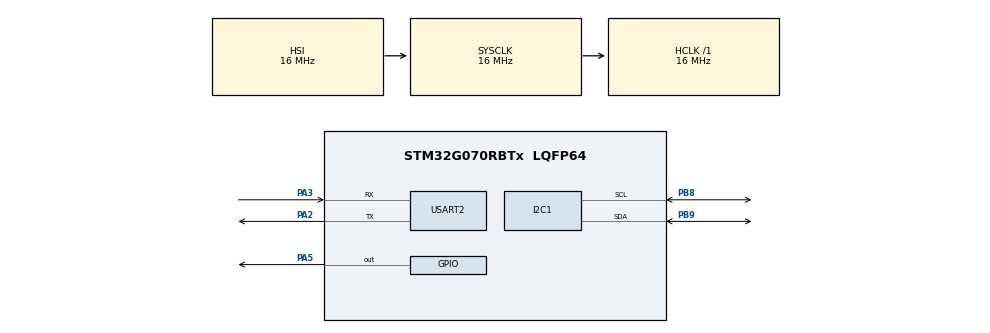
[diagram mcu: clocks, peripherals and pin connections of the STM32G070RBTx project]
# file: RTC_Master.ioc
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I2C1.Timing=0x00503D58
Mcu.Family=STM32G0
Mcu.Name=STM32G070RBTx
Mcu.Package=LQFP64
NVIC.USART2_IRQn=true\:0\:0\:false\:false\:true\:true\:true\:true
PA2.Mode=Asynchronous
PA2.Signal=USART2_TX
PA3.Mode=Asynchronous
PA3.Signal=USART2_RX
PA5.Signal=GPIO_Output
PB8.Mode=I2C
PB8.Signal=I2C1_SCL
PB9.Mode=I2C
PB9.Signal=I2C1_SDA
ProjectManager.HeapSize=0x200
ProjectManager.StackSize=0x400
ProjectManager.TargetToolchain=STM32CubeIDE
RCC.AHBFreq_Value=16000000
RCC.CortexFreq_Value=16000000
RCC.EXTERNAL_CLOCK_VALUE=12288000
RCC.HCLKFreq_Value=16000000
RCC.HSE_VALUE=8000000
RCC.HSI_VALUE=16000000
RCC.LSE_VALUE=32768
RCC.SYSCLKFreq_VALUE=16000000
RCC.VCOOutputFreq_Value=128000000
USART2.VirtualMode-Asynchronous=VM_ASYNC
board=NUCLEO-G070RB

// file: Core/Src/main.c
/* USER CODE BEGIN Header */
/**
  ******************************************************************************
  * @file           : main.c
  * @brief          : Main program body
  ******************************************************************************
  * @attention
  *
  * Copyright (c) 2025 STMicroelectronics.
  * All rights reserved.
  *
  * This software is licensed under terms that can be found in the LICENSE file
  * in the root directory of this software component.
  * If no LICENSE file comes with this software, it is provided AS-IS.
  *
  ******************************************************************************
  */
/* USER CODE END Header */
#include "main.h"

/* USER CODE BEGIN Includes */
#include <stdio.h>
#define RTC_ADDR   0x68
uint8_t time_buffer[7];
uint8_t second = 0;
uint8_t tx_buff[27] = "Started To execute\n\r";
char uart_buf[20];
int uart_buf_len;

/* USER CODE END Includes */

I2C_HandleTypeDef hi2c1;

UART_HandleTypeDef huart2;

void SystemClock_Config(void);
static void MX_GPIO_Init(void);
static void MX_I2C1_Init(void);
static void MX_USART2_UART_Init(void);

/* USER CODE BEGIN 0 */
// Convert Decimal → BCD
uint8_t dec2bcd(uint8_t val) {
    return ((val / 10) << 4) | (val % 10);
}

// Convert BCD → Decimal
uint8_t bcd2dec(uint8_t val) {
    return ((val >> 4) * 10) + (val & 0x0F);
}

void RTC_SetDateTime(uint16_t year, uint8_t month, uint8_t date,
                     uint8_t hour, uint8_t minute, uint8_t second)
{
    uint8_t set_time[7];

    set_time[0] = dec2bcd(second & 0x7F);   // 0x03 Seconds (bit7 = OS flag, must keep 0)
    set_time[1] = dec2bcd(minute);          // 0x04 Minutes
    set_time[2] = dec2bcd(hour);            // 0x05 Hours
    set_time[3] = dec2bcd(date);            // 0x06 Day
    set_time[4] = dec2bcd(1);               // 0x07 Weekday (dummy or real)
    set_time[5] = dec2bcd(month);           // 0x08 Month
    set_time[6] = dec2bcd(year % 100);      // 0x09 Year (00–99)

    HAL_I2C_Mem_Write(&hi2c1, RTC_ADDR << 1, 0x03, 1, set_time, 7, HAL_MAX_DELAY);
}

void RTC_ReadDateTime(void)
{
    char uart_buf[50];
    int uart_buf_len;

    HAL_I2C_Mem_Read(&hi2c1, RTC_ADDR << 1, 0x03, 1, time_buffer, 7, HAL_MAX_DELAY);

    uint8_t second = bcd2dec(time_buffer[0] & 0x7F);  // mask OS bit
    uint8_t minute = bcd2dec(time_buffer[1]);
    uint8_t hour   = bcd2dec(time_buffer[2] & 0x3F);
    uint8_t date   = bcd2dec(time_buffer[3]);
    uint8_t wday   = bcd2dec(time_buffer[4]);
    uint8_t month  = bcd2dec(time_buffer[5] & 0x1F);
    uint8_t yr = bcd2dec(time_buffer[6]);
    uint16_t year;

    // Decide century (simple rule: 70–99 → 1900s, else → 2000s)
    if (yr >= 70) {
        year = 1900 + yr;
    } else {
        year = 2000 + yr;
    }

		uart_buf_len = sprintf(uart_buf,
							   "%02d:%02d:%04d %02d:%02d:%02d\r\n",
							   date, month, year, hour, minute, second);

    HAL_UART_Transmit(&huart2, (uint8_t *)uart_buf, uart_buf_len, HAL_MAX_DELAY);
}

uint8_t rtc_check_os_flag(void)
{
    uint8_t sec;

    // Read Seconds register (0x03)
    if (HAL_I2C_Mem_Read(&hi2c1, RTC_ADDR << 1, 0x03, I2C_MEMADD_SIZE_8BIT,
                         &sec, 1, HAL_MAX_DELAY) != HAL_OK)
    {
        const char *msg = "I2C Read Error\r\n";
        HAL_UART_Transmit(&huart2, (uint8_t *)msg, strlen(msg), HAL_MAX_DELAY);
        return 0xFF; // indicate comm error
    }

    if (sec & 0x80) {
        const char *msg = "Oscillator STOP detected (time invalid)\r\n";
        HAL_UART_Transmit(&huart2, (uint8_t *)msg, strlen(msg), HAL_MAX_DELAY);
        return 1;  // OS flag set
    } else {
        const char *msg = "RTC running normally\r\n";
        HAL_UART_Transmit(&huart2, (uint8_t *)msg, strlen(msg), HAL_MAX_DELAY);
        return 0;  // OS flag clear
    }
}
// --- I2C helpers ---
static HAL_StatusTypeDef i2c_write_u8(uint8_t reg, uint8_t val) {
    return HAL_I2C_Mem_Write(&hi2c1, RTC_ADDR << 1, reg, I2C_MEMADD_SIZE_8BIT, &val, 1, HAL_MAX_DELAY);
}
static HAL_StatusTypeDef i2c_read_u8(uint8_t reg, uint8_t *val) {
    return HAL_I2C_Mem_Read(&hi2c1, RTC_ADDR << 1, reg, I2C_MEMADD_SIZE_8BIT, val, 1, HAL_MAX_DELAY);
}

void RTC_EnableBatterySwitchover(void)
{
    uint8_t c3 = 0x20;  // PM=010, enable battery switch-over

    if (HAL_I2C_Mem_Write(&hi2c1, RTC_ADDR << 1,
                          0x02, I2C_MEMADD_SIZE_8BIT,
                          &c3, 1, HAL_MAX_DELAY) != HAL_OK) {

        char buf[32];
        sprintf(buf, "Write to C3 failed!\r\n");
        HAL_UART_Transmit(&huart2, (uint8_t*)buf, sizeof(buf), HAL_MAX_DELAY);
        return;
    }

    HAL_Delay(10);

    // Read back
    if (HAL_I2C_Mem_Read(&hi2c1, RTC_ADDR << 1,
                         0x02, I2C_MEMADD_SIZE_8BIT,
                         &c3, 1, HAL_MAX_DELAY) == HAL_OK) {
        char buf[32];
        sprintf(buf, "After write C3=0x%02X\r\n", c3);
        HAL_UART_Transmit(&huart2, (uint8_t*)buf, sizeof(buf), HAL_MAX_DELAY);
    }
}

// Dump key regs to UART: Seconds(0x03), Control1(0x00), Control2(0x01), Control3(0x02)
void RTC_DumpDebug(void)
{
    char buf[96];
    uint8_t r0=0,r1=0,r2=0,sec=0;
    i2c_read_u8(0x00, &r0);
    i2c_read_u8(0x01, &r1);
    i2c_read_u8(0x02, &r2);
    i2c_read_u8(0x03, &sec);

    int n = snprintf(buf, sizeof(buf),
        "DBG C1=0x%02X C2=0x%02X C3=0x%02X SEC=0x%02X (OS=%d)\r\n",
        r0, r1, r2, sec, (sec & 0x80) ? 1 : 0);
    HAL_UART_Transmit(&huart2, (uint8_t*)buf, n, HAL_MAX_DELAY);
}

/* USER CODE END 0 */

int main(void)
{

  /* MCU Configuration--------------------------------------------------------*/

  /* Reset of all peripherals, Initializes the Flash interface and the Systick. */
  HAL_Init();

  /* Configure the system clock */
  SystemClock_Config();

  /* Initialize all configured peripherals */
  MX_GPIO_Init();
  MX_I2C1_Init();
  MX_USART2_UART_Init();
  /* USER CODE BEGIN 2 */

  HAL_UART_Transmit(&huart2, tx_buff, sizeof(tx_buff), 10);
  RTC_EnableBatterySwitchover();
  RTC_DumpDebug();
  if (rtc_check_os_flag()) {
      HAL_UART_Transmit(&huart2, (uint8_t *)"RTC lost power, setting default\r\n", 32, HAL_MAX_DELAY);
      RTC_SetDateTime(1999, 1, 1, 12, 0, 0);  // initialize once
  } else {
      HAL_UART_Transmit(&huart2, (uint8_t *)"RTC running, keeping time\r\n", 28, HAL_MAX_DELAY);
  }

  /* USER CODE END 2 */

  /* Infinite loop */
  while (1)
  {

    /* USER CODE BEGIN 3 */
	 RTC_ReadDateTime();

	 HAL_Delay(1000);
  }
  /* USER CODE END 3 */
}

void SystemClock_Config(void)
{
  RCC_OscInitTypeDef RCC_OscInitStruct = {0};
  RCC_ClkInitTypeDef RCC_ClkInitStruct = {0};

  /** Configure the main internal regulator output voltage
  */
  HAL_PWREx_ControlVoltageScaling(PWR_REGULATOR_VOLTAGE_SCALE1);

  /** Initializes the RCC Oscillators according to the specified parameters
  * in the RCC_OscInitTypeDef structure.
  */
  RCC_OscInitStruct.OscillatorType = RCC_OSCILLATORTYPE_HSI;
  RCC_OscInitStruct.HSIState = RCC_HSI_ON;
  RCC_OscInitStruct.HSIDiv = RCC_HSI_DIV1;
  RCC_OscInitStruct.HSICalibrationValue = RCC_HSICALIBRATION_DEFAULT;
  RCC_OscInitStruct.PLL.PLLState = RCC_PLL_NONE;
  if (HAL_RCC_OscConfig(&RCC_OscInitStruct) != HAL_OK)
  {
    Error_Handler();
  }

  /** Initializes the CPU, AHB and APB buses clocks
  */
  RCC_ClkInitStruct.ClockType = RCC_CLOCKTYPE_HCLK|RCC_CLOCKTYPE_SYSCLK
                              |RCC_CLOCKTYPE_PCLK1;
  RCC_ClkInitStruct.SYSCLKSource = RCC_SYSCLKSOURCE_HSI;
  RCC_ClkInitStruct.AHBCLKDivider = RCC_SYSCLK_DIV1;
  RCC_ClkInitStruct.APB1CLKDivider = RCC_HCLK_DIV1;

  if (HAL_RCC_ClockConfig(&RCC_ClkInitStruct, FLASH_LATENCY_0) != HAL_OK)
  {
    Error_Handler();
  }
}

static void MX_I2C1_Init(void)
{

  hi2c1.Instance = I2C1;
  hi2c1.Init.Timing = 0x00503D58;
  hi2c1.Init.OwnAddress1 = 0;
  hi2c1.Init.AddressingMode = I2C_ADDRESSINGMODE_7BIT;
  hi2c1.Init.DualAddressMode = I2C_DUALADDRESS_DISABLE;
  hi2c1.Init.OwnAddress2 = 0;
  hi2c1.Init.OwnAddress2Masks = I2C_OA2_NOMASK;
  hi2c1.Init.GeneralCallMode = I2C_GENERALCALL_DISABLE;
  hi2c1.Init.NoStretchMode = I2C_NOSTRETCH_DISABLE;
  if (HAL_I2C_Init(&hi2c1) != HAL_OK)
  {
    Error_Handler();
  }

  /** Configure Analogue filter
  */
  if (HAL_I2CEx_ConfigAnalogFilter(&hi2c1, I2C_ANALOGFILTER_ENABLE) != HAL_OK)
  {
    Error_Handler();
  }

  /** Configure Digital filter
  */
  if (HAL_I2CEx_ConfigDigitalFilter(&hi2c1, 0) != HAL_OK)
  {
    Error_Handler();
  }

}

static void MX_USART2_UART_Init(void)
{

  huart2.Instance = USART2;
  huart2.Init.BaudRate = 115200;
  huart2.Init.WordLength = UART_WORDLENGTH_8B;
  huart2.Init.StopBits = UART_STOPBITS_1;
  huart2.Init.Parity = UART_PARITY_NONE;
  huart2.Init.Mode = UART_MODE_TX_RX;
  huart2.Init.HwFlowCtl = UART_HWCONTROL_NONE;
  huart2.Init.OverSampling = UART_OVERSAMPLING_16;
  huart2.Init.OneBitSampling = UART_ONE_BIT_SAMPLE_DISABLE;
  huart2.Init.ClockPrescaler = UART_PRESCALER_DIV1;
  huart2.AdvancedInit.AdvFeatureInit = UART_ADVFEATURE_NO_INIT;
  if (HAL_UART_Init(&huart2) != HAL_OK)
  {
    Error_Handler();
  }
  if (HAL_UARTEx_SetTxFifoThreshold(&huart2, UART_TXFIFO_THRESHOLD_1_8) != HAL_OK)
  {
    Error_Handler();
  }
  if (HAL_UARTEx_SetRxFifoThreshold(&huart2, UART_RXFIFO_THRESHOLD_1_8) != HAL_OK)
  {
    Error_Handler();
  }
  if (HAL_UARTEx_DisableFifoMode(&huart2) != HAL_OK)
  {
    Error_Handler();
  }

}

static void MX_GPIO_Init(void)
{
  GPIO_InitTypeDef GPIO_InitStruct = {0};

  /* GPIO Ports Clock Enable */
  __HAL_RCC_GPIOA_CLK_ENABLE();
  __HAL_RCC_GPIOB_CLK_ENABLE();

  /*Configure GPIO pin Output Level */
  HAL_GPIO_WritePin(GPIOA, GPIO_PIN_5, GPIO_PIN_RESET);

  /*Configure GPIO pin : PA5 */
  GPIO_InitStruct.Pin = GPIO_PIN_5;
  GPIO_InitStruct.Mode = GPIO_MODE_OUTPUT_PP;
  GPIO_InitStruct.Pull = GPIO_NOPULL;
  GPIO_InitStruct.Speed = GPIO_SPEED_FREQ_LOW;
  HAL_GPIO_Init(GPIOA, &GPIO_InitStruct);

}

void Error_Handler(void)
{
  __disable_irq();
  while (1)
  {
  }
}
